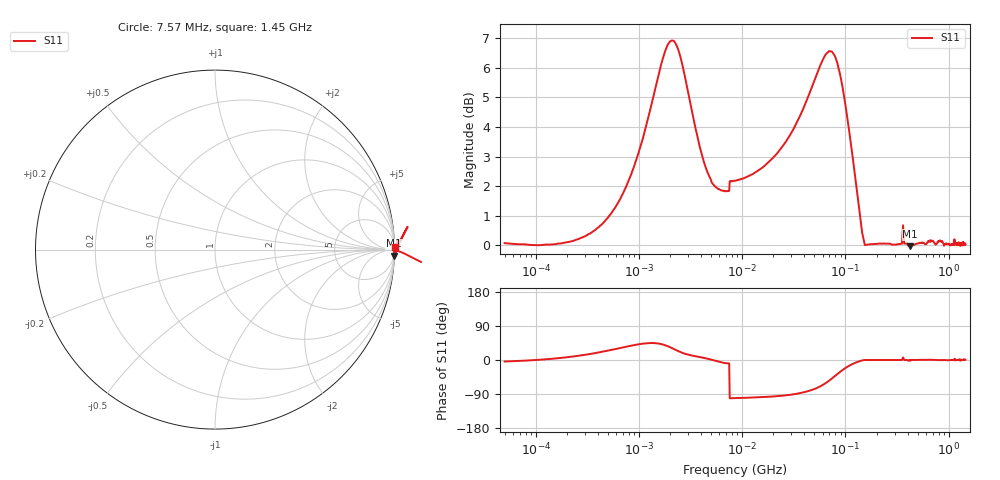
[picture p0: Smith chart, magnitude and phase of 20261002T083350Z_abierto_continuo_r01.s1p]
! piloto_saltos / abierto_continuo / r01
# HZ S RI R 50
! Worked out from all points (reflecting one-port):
!   501 points, 50 kHz to 1.45 GHz, reference 50 ohm
!   lowest |S11| = 0.0 dB at 424 MHz (marker M1), VSWR 500.79, Z = 329 - j2.85e+03 ohm
!   phase of S11 starts at -4 deg and turns +5 deg over the sweep
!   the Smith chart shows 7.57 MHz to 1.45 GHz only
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50000  1.005 -0.0699
183000  1.003 0.1046
363500  1.008 0.3174
658000  1.02 0.6263
1180000  1.147 1.112
1630000  1.491 1.353
1990000  1.83 1.239
2440000  1.961 0.8169
3340000  1.619 0.3183
4690000  1.317 0.069
7300000  1.219 -0.1927
7750000  -0.2419 -1.261
8560000  -0.235 -1.264
1.72e7  -0.1744 -1.361
3.16e7  -0.0112 -1.576
4.69e7  0.3379 -1.811
5.59e7  0.6608 -1.885
6.4e7  1.006 -1.844
7.3e7  1.369 -1.628
8.65e7  1.651 -1.1
9.82e7  1.628 -0.6743
1e8  1.61 -0.6208
1.18e8  1.378 -0.2443
1.36e8  1.148 -0.0688
1.63e8  1.002 -0.000205
4.06e8  0.9967 -0.0347
4.24e8  0.9954 -0.0345
1.45e9  1.003 0.0152
